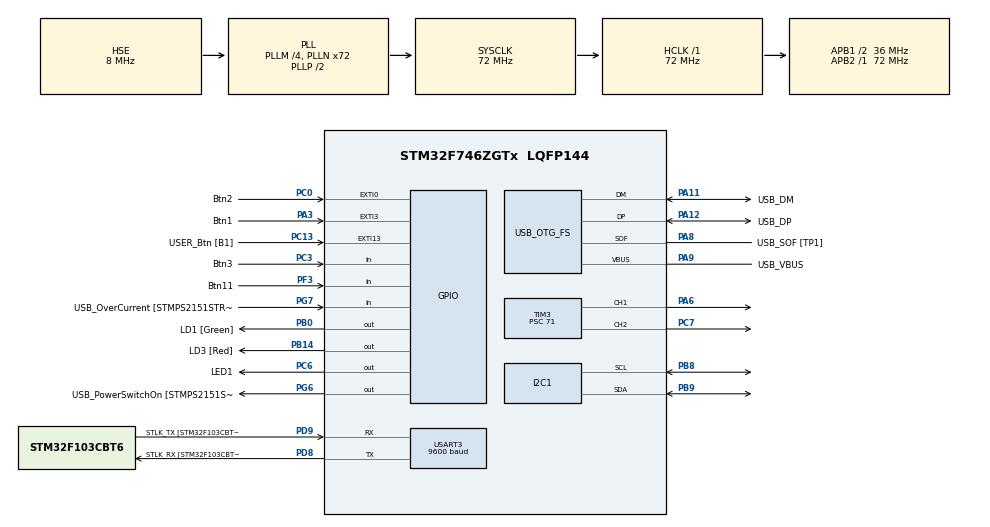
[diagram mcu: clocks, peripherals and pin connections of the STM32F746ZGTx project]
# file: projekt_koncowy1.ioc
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ARM.CMSIS.5.7.0.CMSISJjCORE=true
ARM.CMSIS.5.7.0.CMSISJjDSP=Library
I2C1.Timing=0x00808CD2
Mcu.Family=STM32F7
Mcu.Name=STM32F746ZGTx
Mcu.Package=LQFP144
NVIC.EXTI0_IRQn=true\:0\:0\:false\:false\:true\:true\:true\:true
NVIC.EXTI15_10_IRQn=true\:0\:0\:false\:false\:true\:true\:true\:true
NVIC.EXTI3_IRQn=true\:0\:0\:false\:false\:true\:true\:true\:true
NVIC.PriorityGroup=NVIC_PRIORITYGROUP_4
NVIC.TIM1_BRK_TIM9_IRQn=true\:0\:0\:false\:false\:true\:true\:true\:true
NVIC.TIM1_CC_IRQn=true\:0\:0\:false\:false\:true\:true\:true\:true
NVIC.TIM1_TRG_COM_TIM11_IRQn=true\:0\:0\:false\:false\:true\:true\:true\:true
NVIC.TIM1_UP_TIM10_IRQn=true\:0\:0\:false\:false\:true\:true\:true\:true
NVIC.TIM3_IRQn=true\:0\:0\:false\:false\:true\:true\:true\:true
NVIC.TIM4_IRQn=true\:0\:0\:false\:false\:true\:true\:true\:true
NVIC.USART3_IRQn=true\:0\:0\:false\:false\:true\:true\:true\:true
PA1.GPIO_Label=RMII_REF_CLK [LAN8742A-CZ-TR_REFCLK0]
PA1.Signal=ETH_REF_CLK
PA10.GPIO_Label=USB_ID
PA10.Signal=USB_OTG_FS_ID
PA11.GPIO_Label=USB_DM
PA11.Mode=Device_Only
PA11.Signal=USB_OTG_FS_DM
PA12.GPIO_Label=USB_DP
PA12.Mode=Device_Only
PA12.Signal=USB_OTG_FS_DP
PA13.GPIO_Label=TMS
PA13.Mode=Serial_Wire
PA13.Signal=SYS_JTMS-SWDIO
PA14.GPIO_Label=TCK
PA14.Mode=Serial_Wire
PA14.Signal=SYS_JTCK-SWCLK
PA2.GPIO_Label=RMII_MDIO [LAN8742A-CZ-TR_MDIO]
PA2.Signal=ETH_MDIO
PA3.GPIO_Label=Btn1
PA3.GPIO_PuPd=GPIO_PULLDOWN
PA3.Signal=GPXTI3
PA6.Signal=S_TIM3_CH1
PA7.GPIO_Label=RMII_CRS_DV [LAN8742A-CZ-TR_CRS_DV]
PA7.Signal=ETH_CRS_DV
PA8.GPIO_Label=USB_SOF [TP1]
PA8.Mode=Activate_SOF_FS
PA8.Signal=USB_OTG_FS_SOF
PA9.GPIO_Label=USB_VBUS
PA9.Mode=Activate_VBUS
PA9.Signal=USB_OTG_FS_VBUS
PB0.GPIO_Label=LD1 [Green]
PB0.Signal=GPIO_Output
PB13.GPIO_Label=RMII_TXD1 [LAN8742A-CZ-TR_TXD1]
PB13.Signal=ETH_TXD1
PB14.GPIO_Label=LD3 [Red]
PB14.Signal=GPIO_Output
PB3.GPIO_Label=SW0
PB3.Signal=SYS_JTDO-SWO
PB8.Mode=I2C
PB8.Signal=I2C1_SCL
PB9.Mode=I2C
PB9.Signal=I2C1_SDA
PC0.GPIO_Label=Btn2
PC0.GPIO_PuPd=GPIO_PULLDOWN
PC0.Signal=GPXTI0
PC1.GPIO_Label=RMII_MDC [LAN8742A-CZ-TR_MDC]
PC1.Signal=ETH_MDC
PC13.GPIO_Label=USER_Btn [B1]
PC13.GPIO_ModeDefaultEXTI=GPIO_MODE_IT_RISING
PC13.Signal=GPXTI13
PC14/OSC32_IN.Mode=LSE-External-Oscillator
PC14/OSC32_IN.Signal=RCC_OSC32_IN
PC15/OSC32_OUT.Mode=LSE-External-Oscillator
PC15/OSC32_OUT.Signal=RCC_OSC32_OUT
PC3.GPIO_Label=Btn3
PC3.Signal=GPIO_Input
PC4.GPIO_Label=RMII_RXD0 [LAN8742A-CZ-TR_RXD0]
PC4.Signal=ETH_RXD0
PC5.GPIO_Label=RMII_RXD1 [LAN8742A-CZ-TR_RXD1]
PC5.Signal=ETH_RXD1
PC6.GPIO_Label=LED1
PC6.Signal=GPIO_Output
PC7.Signal=S_TIM3_CH2
PD8.GPIO_Label=STLK_RX [STM32F103CBT6_PA3]
PD8.Mode=Asynchronous
PD8.Signal=USART3_TX
PD9.GPIO_Label=STLK_TX [STM32F103CBT6_PA2]
PD9.Mode=Asynchronous
PD9.Signal=USART3_RX
PF3.GPIO_Label=Btn11
PF3.GPIO_PuPd=GPIO_PULLUP
PF3.Signal=GPIO_Input
PG11.GPIO_Label=RMII_TX_EN [LAN8742A-CZ-TR_TXEN]
PG11.Signal=ETH_TX_EN
PG13.GPIO_Label=RMII_TXD0 [LAN8742A-CZ-TR_TXD0]
PG13.Signal=ETH_TXD0
PG6.GPIO_Label=USB_PowerSwitchOn [STMPS2151STR_EN]
PG6.Signal=GPIO_Output
PG7.GPIO_Label=USB_OverCurrent [STMPS2151STR_FAULT]
PG7.Signal=GPIO_Input
PH0/OSC_IN.GPIO_Label=MCO [STM32F103CBT6_PA8]
PH0/OSC_IN.Mode=HSE-External-Clock-Source
PH0/OSC_IN.Signal=RCC_OSC_IN
PH1/OSC_OUT.Mode=HSE-External-Clock-Source
PH1/OSC_OUT.Signal=RCC_OSC_OUT
ProjectManager.HeapSize=0x200
ProjectManager.StackSize=0x400
ProjectManager.TargetToolchain=STM32CubeIDE
RCC.48MHZClocksFreq_Value=24000000
RCC.AHBFreq_Value=72000000
RCC.APB1CLKDivider=RCC_HCLK_DIV2
RCC.APB1Freq_Value=36000000
RCC.APB1TimFreq_Value=72000000
RCC.APB2Freq_Value=72000000
RCC.APB2TimFreq_Value=72000000
RCC.CortexFreq_Value=72000000
RCC.HCLKFreq_Value=72000000
RCC.HSE_VALUE=8000000
RCC.HSI_VALUE=16000000
RCC.PLLM=4
RCC.PLLMUL=RCC_PLL_MUL9
RCC.PLLN=72
RCC.PLLQ=3
RCC.PRESCALERUSB=RCC_USBCLKSOURCE_PLL_DIV1_5
RCC.SYSCLKFreq_VALUE=72000000
RCC.SYSCLKSource=RCC_SYSCLKSOURCE_PLLCLK
RCC.SYSCLKSourceVirtual=RCC_SYSCLKSOURCE_PLLCLK
RCC.USBFreq_Value=48000000
RCC.VCOOutputFreq_Value=144000000
SH.S_TIM3_CH1.0=TIM3_CH1,PWM Generation1 CH1
SH.S_TIM3_CH2.0=TIM3_CH2,PWM Generation2 CH2
TIM1.Period=4999
TIM1.Prescaler=3199
TIM3.Channel-PWM\ Generation1\ CH1=TIM_CHANNEL_1
TIM3.Channel-PWM\ Generation2\ CH2=TIM_CHANNEL_2
TIM3.OCFastMode_PWM-PWM\ Generation1\ CH1=TIM_OCFAST_DISABLE
TIM3.OCFastMode_PWM-PWM\ Generation2\ CH2=TIM_OCFAST_ENABLE
TIM3.OCPolarity_1=TIM_OCPOLARITY_HIGH
TIM3.Period=999
TIM3.Prescaler=71
TIM3.Pulse-PWM\ Generation1\ CH1=1000
TIM3.Pulse-PWM\ Generation2\ CH2=1000
TIM4.Period=9999
TIM4.Prescaler=7199
USART3.BaudRate=9600
USART3.VirtualMode-Asynchronous=VM_ASYNC
USB_OTG_FS.VirtualMode=Device_Only
VP_ARM.CMSIS_VS_CMSISJjCORE_5.4.0_5.7.0.Mode=CMSISJjCORE
VP_ARM.CMSIS_VS_CMSISJjDSP_1.8.0_5.7.0.Mode=CMSISJjDSP
VP_TIM1_VS_ClockSourceINT.Mode=Internal
VP_TIM3_VS_ClockSourceINT.Mode=Internal
VP_TIM4_VS_ClockSourceINT.Mode=Internal
VP_TIM8_VS_ClockSourceINT.Mode=Internal
board=NUCLEO-F746ZG

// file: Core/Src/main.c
/* USER CODE BEGIN Header */
/**
  ******************************************************************************
  * @file           : main.c
  * @brief          : Main program body
  ******************************************************************************
  * @attention
  *
  * Copyright (c) 2023 STMicroelectronics.
  * All rights reserved.
  *
  * This software is licensed under terms that can be found in the LICENSE file
  * in the root directory of this software component.
  * If no LICENSE file comes with this software, it is provided AS-IS.
  *
  ******************************************************************************
  */
/* USER CODE END Header */
#include "main.h"
#include "i2c.h"
#include "tim.h"
#include "usart.h"
#include "usb_otg.h"
#include "gpio.h"

/* USER CODE BEGIN Includes */

#include "bh1750_config.h"
#include "pid2dof_config.h"
#include "led_config.h"
#include <stdio.h>
#include <string.h>

#include <arm_math.h>

#include <stdlib.h>

/* USER CODE END Includes */

/* USER CODE BEGIN PV */
//int duty=0;

uint8_t single_message_recived [30]={0};
HAL_StatusTypeDef uart3_recived_status ;

char single_message_response [30]={0};

int var=0;
float light=0.f;
float light_ctrl = 0.0f;

_Bool LD1_State;
_Bool LD3_State;

/* USER CODE END PV */

void SystemClock_Config(void);

/* USER CODE BEGIN 0 */

void HAL_TIM_PeriodElapsedCallback(TIM_HandleTypeDef *htim)
{
  if(htim == &htim4)
  {
	//dioda 1Hz
    LED_GPIO_Toggle(&hld1);
    LD1_State = LED_GPIO_Read(&hld1);

    //wyslanie wartosci zadanej referencyjnej oraz sterowania po urat
	char msg[32] = { 0, };
	int msg_len = sprintf(msg, "Illuminance:  %d [lx]\r\n", (int)light);
	HAL_UART_Transmit(&huart3, (uint8_t*)msg, msg_len, 100);
	char msg1[32] = { 0, };
	int msg_len1 = sprintf(msg1, "Ref:  %d [lx]\r\n", (int)var);
	HAL_UART_Transmit(&huart3, (uint8_t*)msg1, msg_len1, 100);
	char msg2[32] = { 0, };
	int msg_len2 = sprintf(msg2, "PWM:  %d [promil]\r\n", (int)light_ctrl);
	HAL_UART_Transmit(&huart3, (uint8_t*)msg2, msg_len2, 100);

	uart3_recived_status = HAL_UART_Receive_IT (&huart3 , (uint8_t*)single_message_recived ,strlen("9999"));
	single_message_recived [5]= ' \0 ';

	if ( uart3_recived_status == HAL_OK )
	{
	  sscanf((char*) single_message_recived, "%i" , &var);
	}
  }

  if(htim == &htim1)
    {
	  //dioda 4Hz
      LED_GPIO_Toggle(&hld3);
      LD3_State = LED_GPIO_Read(&hld3);

      //zebranie warotsci z czujnika BH1750
      light = BH1750_ReadIlluminance_lux(&hbh1750_1);
      //obliczenie wartosci PWM za pomoca regulatora PID
	  light_ctrl = PID2DOF_GetOutput(&hlight_pid, var, light);
	  //wykonanie procesu regulacjii
	  __HAL_TIM_SET_COMPARE(&htim3, TIM_CHANNEL_1, light_ctrl);

    }
}

/* USER CODE END 0 */

int main(void)
{

  /* MCU Configuration--------------------------------------------------------*/

  /* Reset of all peripherals, Initializes the Flash interface and the Systick. */
  HAL_Init();

  /* Configure the system clock */
  SystemClock_Config();

  /* Initialize all configured peripherals */
  MX_GPIO_Init();
  MX_USART3_UART_Init();
  MX_USB_OTG_FS_PCD_Init();
  MX_TIM3_Init();
  MX_I2C1_Init();
  MX_TIM4_Init();
  MX_TIM1_Init();
  MX_TIM8_Init();
  /* USER CODE BEGIN 2 */
  HAL_TIM_PWM_Start(&htim3, TIM_CHANNEL_1);
  HAL_TIM_PWM_Start(&htim3, TIM_CHANNEL_2);
  HAL_TIM_Base_Start_IT(&htim4);
  HAL_TIM_Base_Start_IT(&htim1);

  HAL_UART_Receive_IT (&huart3, (uint8_t*)single_message_recived ,strlen("9999"));

  BH1750_Init(&hbh1750_1);

  /* USER CODE END 2 */

  /* Infinite loop */
  while (1)
  {

  }
}

void SystemClock_Config(void)
{
  RCC_OscInitTypeDef RCC_OscInitStruct = {0};
  RCC_ClkInitTypeDef RCC_ClkInitStruct = {0};

  /** Configure LSE Drive Capability
  */
  HAL_PWR_EnableBkUpAccess();

  /** Configure the main internal regulator output voltage
  */
  __HAL_RCC_PWR_CLK_ENABLE();
  __HAL_PWR_VOLTAGESCALING_CONFIG(PWR_REGULATOR_VOLTAGE_SCALE3);

  /** Initializes the RCC Oscillators according to the specified parameters
  * in the RCC_OscInitTypeDef structure.
  */
  RCC_OscInitStruct.OscillatorType = RCC_OSCILLATORTYPE_HSE;
  RCC_OscInitStruct.HSEState = RCC_HSE_BYPASS;
  RCC_OscInitStruct.PLL.PLLState = RCC_PLL_ON;
  RCC_OscInitStruct.PLL.PLLSource = RCC_PLLSOURCE_HSE;
  RCC_OscInitStruct.PLL.PLLM = 4;
  RCC_OscInitStruct.PLL.PLLN = 72;
  RCC_OscInitStruct.PLL.PLLP = RCC_PLLP_DIV2;
  RCC_OscInitStruct.PLL.PLLQ = 3;
  if (HAL_RCC_OscConfig(&RCC_OscInitStruct) != HAL_OK)
  {
    Error_Handler();
  }

  /** Initializes the CPU, AHB and APB buses clocks
  */
  RCC_ClkInitStruct.ClockType = RCC_CLOCKTYPE_HCLK|RCC_CLOCKTYPE_SYSCLK
                              |RCC_CLOCKTYPE_PCLK1|RCC_CLOCKTYPE_PCLK2;
  RCC_ClkInitStruct.SYSCLKSource = RCC_SYSCLKSOURCE_PLLCLK;
  RCC_ClkInitStruct.AHBCLKDivider = RCC_SYSCLK_DIV1;
  RCC_ClkInitStruct.APB1CLKDivider = RCC_HCLK_DIV2;
  RCC_ClkInitStruct.APB2CLKDivider = RCC_HCLK_DIV1;

  if (HAL_RCC_ClockConfig(&RCC_ClkInitStruct, FLASH_LATENCY_2) != HAL_OK)
  {
    Error_Handler();
  }
}

void Error_Handler(void)
{
  __disable_irq();
  while (1)
  {
  }
}
